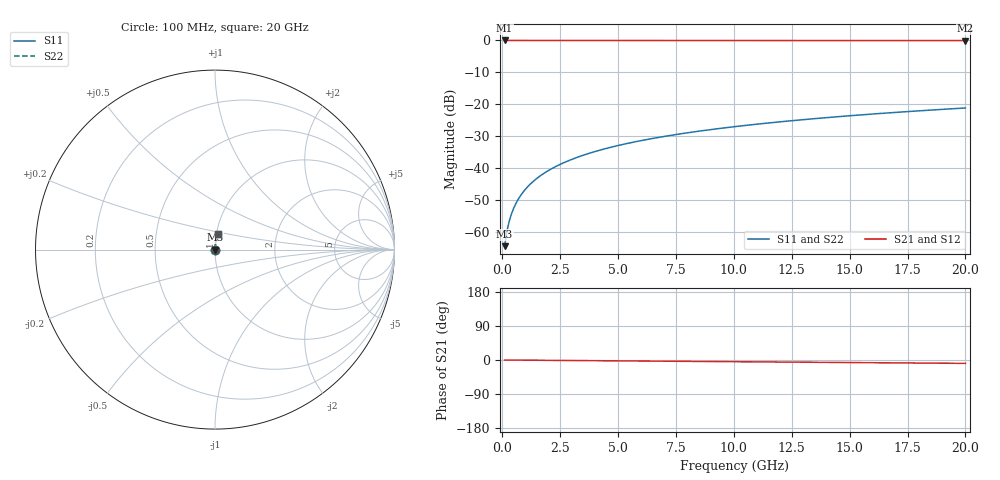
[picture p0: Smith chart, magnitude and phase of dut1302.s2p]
! Touchstone file exported from HFSS 2026.1.0
!  File:  C:/ffzhzh/LocalFiles/Ansys_Project_Files/temp_train_TSV_1302_1783194733_22436.aedt
!  Generated:  03:54:37 AM Jul  5, 2026
!  Design:  TSV
!  Project:  temp_train_TSV_1302_1783194733_22436
! Variables:
!  h_bsmrdl = 2um
!  h_ox = 20um
!  h_rdl = 5um
!  h_sub = 67.47um
!  h_tmrdl = 5um
!  h_tsv = 67.47um
!  h_via = 3um
!  l_bsmrdl = 300um
!  l_sub = 409.76um
!  l_tmrdl = 200um
!  m_sub = 200um
!  pitch = 51.37um
!  r_tsv = 4.88um
!  s_tmrdl = 10um
!  w_bsmrdl = 18um
!  w_sub = 500um
!  w_tmrdl = 12um
!  x_tsv_center1 = 206um
!  x_tsv_center2 = 524um
!  x_tsv_center3 = 736um
!  x_tsv_center4 = 1054um
!  x_tsv_center5 = 1266um
!  x_tsv_center6 = 1584um
# GHz S MA R 50.000000
! Terminal data exported
! Port[1] = TSV1_1_T1
! Port[2] = TSV1_1_T2
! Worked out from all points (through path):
!   200 points, 100 MHz to 20 GHz, reference 50 ohm
!   highest |S21| = 0.00 dB at 100 MHz (marker M1); lowest = 0.0 dB at 20 GHz (marker M2)
!   group delay of S21, straight-line fit = 1.23 ps
!   lowest |S11| = -64.5 dB at 100 MHz (marker M3), VSWR 1.00, Z = 50 + j0.0476 ohm
!   |S11| at or under -10 dB: start of sweep to end of sweep
!   |S22| runs from -64.5 to -21.2 dB; largest |S21 - S12| = 4.1e-15
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0.1  0.0005943 53.1  0.9996 -0.0  0.9996 -0.0  0.0005943 53.1
! Gamma 0 0 0 0
! Port Impedance 50 0 50 0
0.2  0.001016 68.8  0.9996 -0.1  0.9996 -0.1  0.001016 68.8
0.3  0.001467 74.9  0.9996 -0.1  0.9996 -0.1  0.001467 74.9
0.4  0.001922 78.1  0.9996 -0.2  0.9996 -0.2  0.001922 78.1
0.5  0.002378 79.9  0.9996 -0.2  0.9996 -0.2  0.002378 79.9
0.7  0.003287 82.1  0.9996 -0.3  0.9996 -0.3  0.003287 82.1
0.8  0.00374 82.8  0.9995 -0.4  0.9995 -0.4  0.00374 82.8
1  0.004645 83.8  0.9995 -0.5  0.9995 -0.5  0.004645 83.8
1.2  0.005549 84.4  0.9995 -0.6  0.9995 -0.6  0.005549 84.4
1.4  0.006453 84.8  0.9995 -0.6  0.9995 -0.6  0.006453 84.8
1.7  0.007808 85.3  0.9994 -0.8  0.9994 -0.8  0.007808 85.3
2  0.00916 85.5  0.9994 -0.9  0.9994 -0.9  0.00916 85.5
2.7  0.0123 85.7  0.9993 -1.2  0.9993 -1.2  0.0123 85.7
3.5  0.01588 85.7  0.9991 -1.6  0.9991 -1.6  0.01588 85.7
4.2  0.01898 85.6  0.999 -1.9  0.999 -1.9  0.01898 85.6
5  0.02251 85.4  0.9988 -2.3  0.9988 -2.3  0.02251 85.4
6.8  0.0304 84.9  0.9984 -3.1  0.9984 -3.1  0.0304 84.9
8.3  0.03694 84.4  0.9981 -3.7  0.9981 -3.7  0.03694 84.4
10.1  0.04477 83.8  0.9977 -4.5  0.9977 -4.5  0.04477 83.8
13.4  0.05905 82.5  0.9967 -6.0  0.9967 -6.0  0.05905 82.5
16.7  0.07324 81.2  0.9956 -7.4  0.9956 -7.4  0.07324 81.2
20  0.08731 79.9  0.9943 -8.9  0.9943 -8.9  0.08731 79.9
